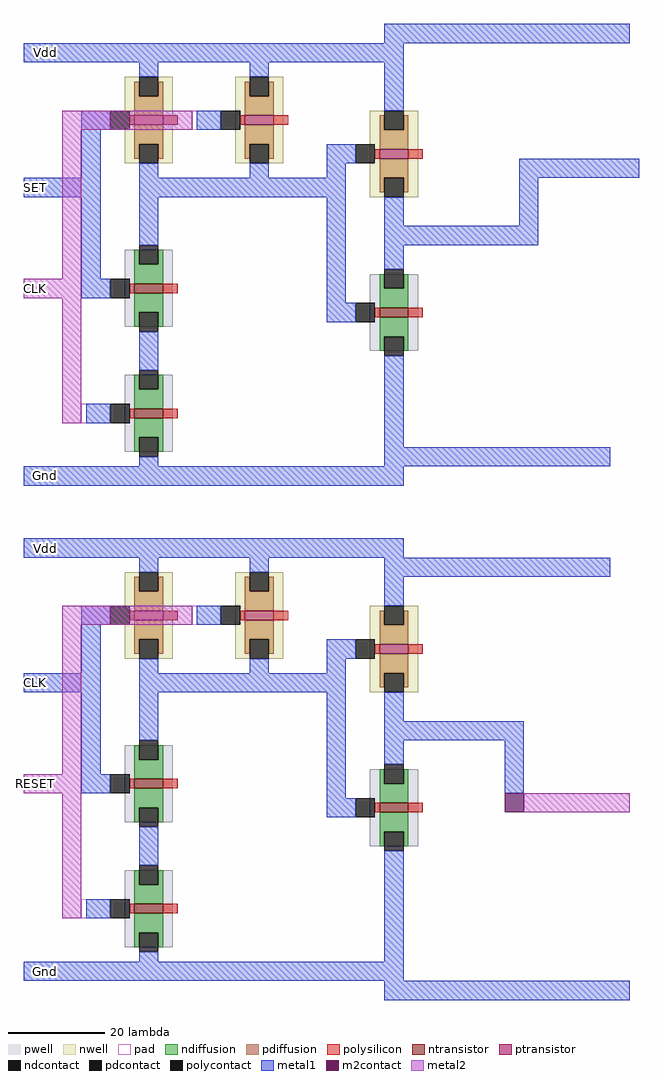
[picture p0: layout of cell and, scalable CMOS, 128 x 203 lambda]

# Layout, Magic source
magic
tech scmos
<< pwell >>
rect -1 10 9 26
rect 50 5 60 21
rect -1 -16 9 0
rect -1 -93 9 -77
rect 50 -98 60 -82
rect -1 -119 9 -103
<< nwell >>
rect -1 44 9 62
rect 22 44 32 62
rect 50 37 60 55
rect -1 -59 9 -41
rect 22 -59 32 -41
rect 50 -66 60 -48
<< polysilicon >>
rect 0 52 1 54
rect 7 52 10 54
rect 23 52 24 54
rect 30 52 33 54
rect 51 45 52 47
rect 58 45 61 47
rect 0 17 1 19
rect 7 17 10 19
rect 51 12 52 14
rect 58 12 61 14
rect 0 -9 1 -7
rect 7 -9 10 -7
rect 0 -51 1 -49
rect 7 -51 10 -49
rect 23 -51 24 -49
rect 30 -51 33 -49
rect 51 -58 52 -56
rect 58 -58 61 -56
rect 0 -86 1 -84
rect 7 -86 10 -84
rect 51 -91 52 -89
rect 58 -91 61 -89
rect 0 -112 1 -110
rect 7 -112 10 -110
<< ndiffusion >>
rect 1 23 2 26
rect 6 23 7 26
rect 1 19 7 23
rect 52 18 53 21
rect 57 18 58 21
rect 1 13 7 17
rect 1 10 2 13
rect 6 10 7 13
rect 52 14 58 18
rect 52 8 58 12
rect 52 5 53 8
rect 57 5 58 8
rect 1 -3 2 0
rect 6 -3 7 0
rect 1 -7 7 -3
rect 1 -13 7 -9
rect 1 -16 2 -13
rect 6 -16 7 -13
rect 1 -80 2 -77
rect 6 -80 7 -77
rect 1 -84 7 -80
rect 52 -85 53 -82
rect 57 -85 58 -82
rect 1 -90 7 -86
rect 1 -93 2 -90
rect 6 -93 7 -90
rect 52 -89 58 -85
rect 52 -95 58 -91
rect 52 -98 53 -95
rect 57 -98 58 -95
rect 1 -106 2 -103
rect 6 -106 7 -103
rect 1 -110 7 -106
rect 1 -116 7 -112
rect 1 -119 2 -116
rect 6 -119 7 -116
<< pdiffusion >>
rect 1 58 2 61
rect 6 58 7 61
rect 1 54 7 58
rect 24 58 25 61
rect 29 58 30 61
rect 1 48 7 52
rect 24 54 30 58
rect 1 45 2 48
rect 6 45 7 48
rect 24 48 30 52
rect 52 51 53 54
rect 57 51 58 54
rect 24 45 25 48
rect 29 45 30 48
rect 52 47 58 51
rect 52 41 58 45
rect 52 38 53 41
rect 57 38 58 41
rect 1 -45 2 -42
rect 6 -45 7 -42
rect 1 -49 7 -45
rect 24 -45 25 -42
rect 29 -45 30 -42
rect 1 -55 7 -51
rect 24 -49 30 -45
rect 1 -58 2 -55
rect 6 -58 7 -55
rect 24 -55 30 -51
rect 52 -52 53 -49
rect 57 -52 58 -49
rect 24 -58 25 -55
rect 29 -58 30 -55
rect 52 -56 58 -52
rect 52 -62 58 -58
rect 52 -65 53 -62
rect 57 -65 58 -62
<< metal1 >>
rect 53 69 104 73
rect -22 65 57 69
rect 2 62 6 65
rect 25 62 29 65
rect 53 55 57 65
rect -10 51 -4 55
rect 14 51 19 55
rect -10 41 -6 51
rect -22 37 -6 41
rect -10 20 -6 37
rect 2 41 6 44
rect 25 41 29 44
rect 41 44 47 48
rect 41 41 45 44
rect 81 41 106 45
rect 2 37 45 41
rect 2 27 6 37
rect -10 16 -4 20
rect 41 15 45 37
rect 53 31 57 37
rect 81 31 85 41
rect 53 27 85 31
rect 53 22 57 27
rect 41 11 47 15
rect 2 1 6 9
rect -9 -10 -4 -6
rect 2 -19 6 -17
rect 53 -15 57 4
rect 53 -19 100 -15
rect -22 -23 57 -19
rect -22 -38 57 -34
rect 2 -41 6 -38
rect 25 -41 29 -38
rect 53 -42 100 -38
rect 53 -48 57 -42
rect -10 -52 -4 -48
rect 14 -52 19 -48
rect -10 -62 -6 -52
rect -22 -66 -6 -62
rect -10 -83 -6 -66
rect 2 -62 6 -59
rect 25 -62 29 -59
rect 41 -59 47 -55
rect 41 -62 45 -59
rect 2 -66 45 -62
rect 2 -76 6 -66
rect -10 -87 -4 -83
rect 41 -88 45 -66
rect 53 -72 57 -66
rect 53 -76 82 -72
rect 53 -81 57 -76
rect 78 -87 82 -76
rect 41 -92 47 -88
rect 2 -102 6 -94
rect -9 -113 -4 -109
rect 2 -122 6 -120
rect 53 -122 57 -99
rect -22 -126 57 -122
rect 53 -130 104 -126
<< metal2 >>
rect -14 51 13 55
rect -14 20 -10 51
rect -22 16 -10 20
rect -14 -10 -10 16
rect -14 -52 13 -48
rect -14 -83 -10 -52
rect -22 -87 -10 -83
rect -14 -113 -10 -87
rect 82 -91 104 -87
<< ntransistor >>
rect 1 17 7 19
rect 52 12 58 14
rect 1 -9 7 -7
rect 1 -86 7 -84
rect 52 -91 58 -89
rect 1 -112 7 -110
<< ptransistor >>
rect 1 52 7 54
rect 24 52 30 54
rect 52 45 58 47
rect 1 -51 7 -49
rect 24 -51 30 -49
rect 52 -58 58 -56
<< polycontact >>
rect -4 51 0 55
rect 19 51 23 55
rect 47 44 51 48
rect -4 16 0 20
rect 47 11 51 15
rect -4 -10 0 -6
rect -4 -52 0 -48
rect 19 -52 23 -48
rect 47 -59 51 -55
rect -4 -87 0 -83
rect 47 -92 51 -88
rect -4 -113 0 -109
<< ndcontact >>
rect 2 23 6 27
rect 53 18 57 22
rect 2 9 6 13
rect 53 4 57 8
rect 2 -3 6 1
rect 2 -17 6 -13
rect 2 -80 6 -76
rect 53 -85 57 -81
rect 2 -94 6 -90
rect 53 -99 57 -95
rect 2 -106 6 -102
rect 2 -120 6 -116
<< pdcontact >>
rect 2 58 6 62
rect 25 58 29 62
rect 2 44 6 48
rect 53 51 57 55
rect 25 44 29 48
rect 53 37 57 41
rect 2 -45 6 -41
rect 25 -45 29 -41
rect 2 -59 6 -55
rect 53 -52 57 -48
rect 25 -59 29 -55
rect 53 -66 57 -62
<< m2contact >>
rect 78 -91 82 -87
<< pad >>
rect 13 51 19 55
rect -10 -10 -4 -6
rect 13 -52 19 -48
rect -10 -113 -4 -109
<< labels >>
rlabel metal1 -22 -126 -13 -122 3 Gnd
rlabel metal1 -22 -38 -13 -34 3 Vdd
rlabel metal1 -22 -23 -13 -19 3 Gnd
rlabel metal1 -22 65 -13 69 3 Vdd
rlabel metal1 -22 -66 -17 -62 3 CLK
rlabel metal2 -22 -87 -17 -83 3 RESET
rlabel metal2 -22 16 -17 20 3 CLK
rlabel metal1 -22 37 -17 41 3 SET
<< end >>
